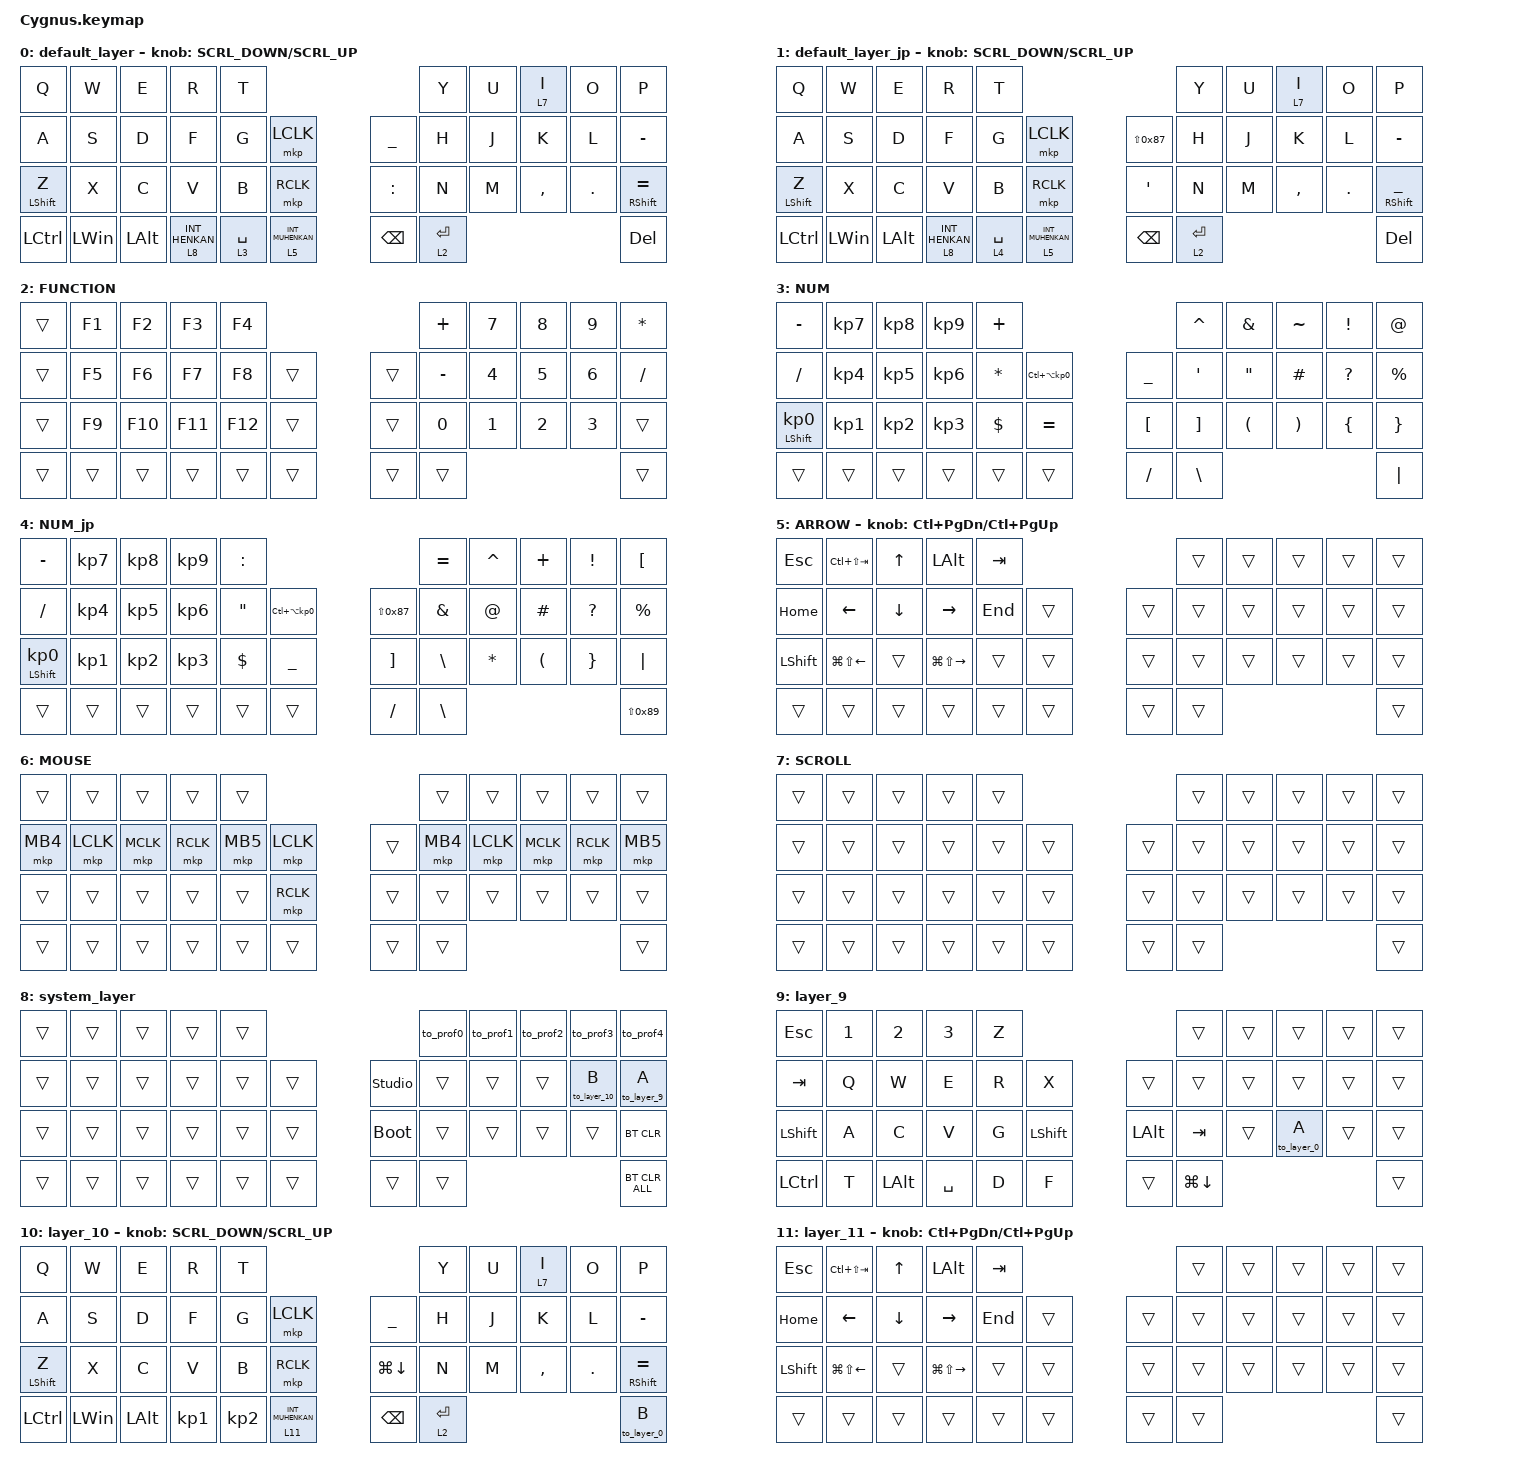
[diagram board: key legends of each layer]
// OS設定を日本語キーボードのまま使用するための変換定義

#define JP_DQUOTE       AT                // "
#define JP_AMPERSAND    CARET             // &
#define JP_QUOTE        AMPERSAND         // '
#define JP_EQUAL        UNDER             // =
#define JP_CARET        EQUAL             // ^
#define JP_YEN          0x89              // ¥
#define JP_PLUS         COLON             // +
#define JP_TILDE        PLUS              // ~
#define JP_PIPE         LS(0x89)          // |
#define JP_AT           LEFT_BRACKET      // @
#define JP_COLON        SINGLE_QUOTE      // :
#define JP_ASTERISK     DOUBLE_QUOTES     // *
#define JP_BACKQUOTE    LEFT_BRACE        // `
#define JP_UNDERSCORE   LS(0x87)          // _
#define JP_LBRACKET     RIGHT_BRACKET     // [
#define JP_RBRACKET     BACKSLASH         // ]
#define JP_LPAREN       ASTERISK          // (
#define JP_RPAREN       LEFT_PARENTHESIS  // )
#define JP_LBRACE       RIGHT_BRACE       // {
#define JP_RBRACE       PIPE              // }
#define JP_KANA         LANGUAGE_1        // かな
#define JP_EISU         LANGUAGE_2        // 英数
#define JP_HANZEN       GRAVE             // 半角/全角
#define ZMK_POINTING_DEFAULT_SCRL_VAL 120    // default: 10

#include <behaviors.dtsi>
#include <dt-bindings/zmk/bt.h>
#include <dt-bindings/zmk/keys.h>
#include <dt-bindings/zmk/pointing.h>

// レイヤー番号の定義（間違い防止のため名前で管理）

#define BASE_EN 0
#define BASE_JP 1
#define FUNC    2
#define NUM_EN  3
#define NUM_JP  4
#define ARROW   5
#define MOUSE   6
#define SCROLL  7
#define SYSTEM  8
#define GAME    9
#define GAME2   10

&mt {
    flavor = "balanced";
    quick-tap-ms = <0>;
};

/ {
    combos {
        compatible = "zmk,combos";

        double_quotation {
            bindings = <&kp DOUBLE_QUOTES>;
            key-positions = <20 21>;
        };
    };

    macros {
        // タップ時にレイヤー0(英語)をベースにするマクロ

        to_layer_0: to_layer_0 {
            compatible = "zmk,behavior-macro-one-param";
            #binding-cells = <1>;
            bindings = <&to 0 &macro_param_1to1 &kp MACRO_PLACEHOLDER>;
            label = "TO_LAYER_0";
        };

        // 【必須】タップ時にレイヤー1(日本語)をベースにするマクロ
        // これがないと日本語使用中に変換キー等を連打した際、英語配列に戻ってしまいます

        to_layer_1: to_layer_1 {
            compatible = "zmk,behavior-macro-one-param";
            #binding-cells = <1>;
            bindings = <&to 1 &macro_param_1to1 &kp MACRO_PLACEHOLDER>;
            label = "TO_LAYER_1";
        };

        // タップ時にレイヤー0(英語)をベースにするマクロ

        to_layer_9: to_layer_9 {
            compatible = "zmk,behavior-macro-one-param";
            #binding-cells = <1>;
            bindings = <&to 9 &macro_param_1to1 &kp MACRO_PLACEHOLDER>;
            label = "TO_LAYER_9";
        };

        to_layer_10: to_layer_10 {
            compatible = "zmk,behavior-macro-one-param";
            #binding-cells = <1>;
            bindings = <&to 10 &macro_param_1to1 &kp MACRO_PLACEHOLDER>;
            label = "TO_LAYER_10";
        };

        // 英語プロファイルへ切り替え (Layer 0へ & BT変更)

        to_prof0: to_prof0_macro {
            compatible = "zmk,behavior-macro";
            #binding-cells = <0>;
            bindings = <&to 0 &bt BT_SEL 0>;
        };

        to_prof1: to_prof1_macro {
            compatible = "zmk,behavior-macro";
            #binding-cells = <0>;
            bindings = <&to 0 &bt BT_SEL 1>;
        };

        to_prof2: to_prof2_macro {
            compatible = "zmk,behavior-macro";
            #binding-cells = <0>;
            bindings = <&to 0 &bt BT_SEL 2>;
        };

        to_prof3: to_prof3_macro {
            compatible = "zmk,behavior-macro";
            #binding-cells = <0>;
            bindings = <&to 0 &bt BT_SEL 3>;
        };

        // 日本語プロファイルへ切り替え (Layer 1へ & BT変更)

        to_prof4: to_prof4_macro {
            compatible = "zmk,behavior-macro";
            #binding-cells = <0>;
            bindings = <&to 1 &bt BT_SEL 4>;
        };
    };

    behaviors {
        // ホールドで指定レイヤー、タップでレイヤー0(英語)に戻りつつキー入力

        lt_to_layer_0: lt_to_layer_0 {
            compatible = "zmk,behavior-hold-tap";
            label = "LAYER_TAP_TO_0";
            bindings = <&mo>, <&to_layer_0>;

            #binding-cells = <2>;
            tapping-term-ms = <200>;
        };

        // ホールドで指定レイヤー、タップでレイヤー1(日本語)に戻りつつキー入力

        lt_to_layer_1: lt_to_layer_1 {
            compatible = "zmk,behavior-hold-tap";
            label = "LAYER_TAP_TO_1";
            bindings = <&mo>, <&to_layer_1>;

            #binding-cells = <2>;
            tapping-term-ms = <200>;
        };

        lt_to_layer_10: lt_to_layer_10 {
            compatible = "zmk,behavior-hold-tap";
            label = "LAYER_TAP_TO_10";
            bindings = <&mo>, <&to_layer_10>;

            #binding-cells = <2>;
            tapping-term-ms = <200>;
        };

        ROTATE: ROTATE {
            compatible = "zmk,behavior-sensor-rotate-var";
            label = "ROTATE";
            #sensor-binding-cells = <2>;
            bindings = <&msc>, <&msc>;

            tap-ms = <20>;
        };
    };

    keymap {
        compatible = "zmk,keymap";

        /* Layer 0: Default (English) */

        default_layer {
            bindings = <
&kp Q             &kp W         &kp E         &kp R                        &kp T                                                           &kp Y        &kp U  &lt 7 I    &kp O    &kp P
&kp A             &kp S         &kp D         &kp F                        &kp G        &mkp LCLK                          &kp UNDERSCORE  &kp H        &kp J  &kp K      &kp L    &kp MINUS
&mt LEFT_SHIFT Z  &kp X         &kp C         &kp V                        &kp B        &mkp RCLK                          &kp COLON       &kp N        &kp M  &kp COMMA  &kp DOT  &mt RIGHT_SHIFT EQUAL
&kp LCTRL         &kp LEFT_WIN  &kp LEFT_ALT  &lt_to_layer_0 8 INT_HENKAN  &lt 3 SPACE  &lt_to_layer_0 5 INT_MUHENKAN      &kp BACKSPACE   &lt 2 ENTER                             &kp DEL
            >;

            sensor-bindings = <&ROTATE SCRL_DOWN SCRL_UP>;
        };

        /* Layer 1: Default (Japanese) - Activated by to_prof4 */

        default_layer_jp {
            bindings = <
&kp Q             &kp W         &kp E         &kp R                        &kp T                                                              &kp Y        &kp U  &lt 7 I    &kp O    &kp P
&kp A             &kp S         &kp D         &kp F                        &kp G        &mkp LCLK                          &kp JP_UNDERSCORE  &kp H        &kp J  &kp K      &kp L    &kp MINUS
&mt LEFT_SHIFT Z  &kp X         &kp C         &kp V                        &kp B        &mkp RCLK                          &kp JP_COLON       &kp N        &kp M  &kp COMMA  &kp DOT  &mt RIGHT_SHIFT JP_EQUAL
&kp LCTRL         &kp LEFT_WIN  &kp LEFT_ALT  &lt_to_layer_1 8 INT_HENKAN  &lt 4 SPACE  &lt_to_layer_1 5 INT_MUHENKAN      &kp BACKSPACE      &lt 2 ENTER                             &kp DEL
            >;

            sensor-bindings = <&ROTATE SCRL_DOWN SCRL_UP>;
        };

        /* Layer 2: FUNCTION */

        FUNCTION {
            bindings = <
&trans  &kp F1  &kp F2   &kp F3   &kp F4                       &kp PLUS      &kp NUMBER_7  &kp NUMBER_8  &kp NUMBER_9  &kp ASTERISK
&trans  &kp F5  &kp F6   &kp F7   &kp F8   &trans      &trans  &kp MINUS     &kp NUMBER_4  &kp NUMBER_5  &kp NUMBER_6  &kp SLASH
&trans  &kp F9  &kp F10  &kp F11  &kp F12  &trans      &trans  &kp NUMBER_0  &kp NUMBER_1  &kp NUMBER_2  &kp NUMBER_3  &trans
&trans  &trans  &trans   &trans   &trans   &trans      &trans  &trans                                                  &trans
            >;
        };

        /* Layer 3: NUM (English) */

        NUM {
            bindings = <
&kp MINUS                   &kp KP_NUMBER_7  &kp KP_NUMBER_8  &kp KP_NUMBER_9  &kp PLUS                                                     &kp CARET          &kp AMPERSAND         &kp TILDE              &kp EXCLAMATION  &kp AT_SIGN
&kp SLASH                   &kp KP_NUMBER_4  &kp KP_NUMBER_5  &kp KP_NUMBER_6  &kp ASTERISK  &kp LC(LA(KP_NUMBER_0))      &kp UNDERSCORE    &kp SINGLE_QUOTE   &kp DOUBLE_QUOTES     &kp HASH               &kp QUESTION     &kp PERCENT
&mt LEFT_SHIFT KP_NUMBER_0  &kp KP_NUMBER_1  &kp KP_NUMBER_2  &kp KP_NUMBER_3  &kp DOLLAR    &kp EQUAL                    &kp LEFT_BRACKET  &kp RIGHT_BRACKET  &kp LEFT_PARENTHESIS  &kp RIGHT_PARENTHESIS  &kp LEFT_BRACE   &kp RIGHT_BRACE
&trans                      &trans           &trans           &trans           &trans        &trans                       &kp SLASH         &kp BACKSLASH                                                                    &kp PIPE
            >;
        };

        /* Layer 4: NUM_jp (Japanese) */

        NUM_jp {
            bindings = <
&kp MINUS                   &kp KP_NUMBER_7  &kp KP_NUMBER_8  &kp KP_NUMBER_9  &kp JP_PLUS                                                      &kp JP_CARET     &kp JP_AMPERSAND  &kp JP_TILDE   &kp EXCLAMATION  &kp JP_AT
&kp SLASH                   &kp KP_NUMBER_4  &kp KP_NUMBER_5  &kp KP_NUMBER_6  &kp JP_ASTERISK  &kp LC(LA(KP_NUMBER_0))      &kp JP_UNDERSCORE  &kp JP_QUOTE     &kp JP_DQUOTE     &kp HASH       &kp QUESTION     &kp PERCENT
&mt LEFT_SHIFT KP_NUMBER_0  &kp KP_NUMBER_1  &kp KP_NUMBER_2  &kp KP_NUMBER_3  &kp DOLLAR       &kp JP_EQUAL                 &kp JP_LBRACKET    &kp JP_RBRACKET  &kp JP_LPAREN     &kp JP_RPAREN  &kp JP_LBRACE    &kp JP_RBRACE
&trans                      &trans           &trans           &trans           &trans           &trans                       &kp SLASH          &kp BACKSLASH                                                      &kp JP_PIPE
            >;
        };

        /* Layer 5: ARROW */

        ARROW {
            bindings = <
&kp ESCAPE      &kp LC(LS(TAB))         &kp UP_ARROW    &kp LEFT_ALT             &kp TAB                      &trans  &trans  &trans  &trans  &trans
&kp HOME        &kp LEFT_ARROW          &kp DOWN_ARROW  &kp RIGHT_ARROW          &kp END  &trans      &trans  &trans  &trans  &trans  &trans  &trans
&kp LEFT_SHIFT  &kp LG(LS(LEFT_ARROW))  &trans          &kp LG(LS(RIGHT_ARROW))  &trans   &trans      &trans  &trans  &trans  &trans  &trans  &trans
&trans          &trans                  &trans          &trans                   &trans   &trans      &trans  &trans                          &trans
            >;

            sensor-bindings = <&inc_dec_kp LC(PAGE_DOWN) LC(PAGE_UP)>;
        };

        /* Layer 6: MOUSE */

        MOUSE {
            bindings = <
&trans    &trans     &trans     &trans     &trans                           &trans    &trans     &trans     &trans     &trans
&mkp MB4  &mkp LCLK  &mkp MCLK  &mkp RCLK  &mkp MB5  &mkp LCLK      &trans  &mkp MB4  &mkp LCLK  &mkp MCLK  &mkp RCLK  &mkp MB5
&trans    &trans     &trans     &trans     &trans    &mkp RCLK      &trans  &trans    &trans     &trans     &trans     &trans
&trans    &trans     &trans     &trans     &trans    &trans         &trans  &trans                                     &trans
            >;
        };

        /* Layer 7: SCROLL */

        SCROLL {
            bindings = <
&trans  &trans  &trans  &trans  &trans                      &trans  &trans  &trans  &trans  &trans
&trans  &trans  &trans  &trans  &trans  &trans      &trans  &trans  &trans  &trans  &trans  &trans
&trans  &trans  &trans  &trans  &trans  &trans      &trans  &trans  &trans  &trans  &trans  &trans
&trans  &trans  &trans  &trans  &trans  &trans      &trans  &trans                          &trans
            >;
        };

        /* Layer 8: System / BT */

        system_layer {
            bindings = <
&trans  &trans  &trans  &trans  &trans                              &to_prof0  &to_prof1  &to_prof2  &to_prof3       &to_prof4
&trans  &trans  &trans  &trans  &trans  &trans      &studio_unlock  &trans     &trans     &trans     &to_layer_10 B  &to_layer_9 A
&trans  &trans  &trans  &trans  &trans  &trans      &bootloader     &trans     &trans     &trans     &trans          &bt BT_CLR
&trans  &trans  &trans  &trans  &trans  &trans      &trans          &trans                                           &bt BT_CLR_ALL
            >;
        };

        layer_9 {
            bindings = <
&kp ESC         &kp NUMBER_1  &kp NUMBER_2  &kp NUMBER_3  &kp Z                                    &trans        &trans  &trans         &trans  &trans
&kp TAB         &kp Q         &kp W         &kp E         &kp R  &kp X               &trans        &trans        &trans  &trans         &trans  &trans
&kp LEFT_SHIFT  &kp A         &kp C         &kp V         &kp G  &kp LEFT_SHIFT      &kp LEFT_ALT  &kp TAB       &trans  &to_layer_0 A  &trans  &trans
&kp LCTRL       &kp T         &kp LEFT_ALT  &kp SPACE     &kp D  &kp F               &trans        &kp LG(DOWN)                                 &trans
            >;
        };

        layer_10 {
            bindings = <
&kp Q             &kp W         &kp E         &kp R            &kp T                                                                 &kp Y        &kp U  &lt 7 I    &kp O    &kp P
&kp A             &kp S         &kp D         &kp F            &kp G            &mkp LCLK                            &kp UNDERSCORE  &kp H        &kp J  &kp K      &kp L    &kp MINUS
&mt LEFT_SHIFT Z  &kp X         &kp C         &kp V            &kp B            &mkp RCLK                            &kp LG(DOWN)    &kp N        &kp M  &kp COMMA  &kp DOT  &mt RIGHT_SHIFT EQUAL
&kp LCTRL         &kp LEFT_WIN  &kp LEFT_ALT  &kp KP_NUMBER_1  &kp KP_NUMBER_2  &lt_to_layer_10 11 INT_MUHENKAN      &kp BACKSPACE   &lt 2 ENTER                             &to_layer_0 B
            >;

            sensor-bindings = <&ROTATE SCRL_DOWN SCRL_UP>;
        };

        layer_11 {
            bindings = <
&kp ESCAPE      &kp LC(LS(TAB))         &kp UP_ARROW    &kp LEFT_ALT             &kp TAB                      &trans  &trans  &trans  &trans  &trans
&kp HOME        &kp LEFT_ARROW          &kp DOWN_ARROW  &kp RIGHT_ARROW          &kp END  &trans      &trans  &trans  &trans  &trans  &trans  &trans
&kp LEFT_SHIFT  &kp LG(LS(LEFT_ARROW))  &trans          &kp LG(LS(RIGHT_ARROW))  &trans   &trans      &trans  &trans  &trans  &trans  &trans  &trans
&trans          &trans                  &trans          &trans                   &trans   &trans      &trans  &trans                          &trans
            >;

            sensor-bindings = <&inc_dec_kp LC(PAGE_DOWN) LC(PAGE_UP)>;
        };
    };
};
